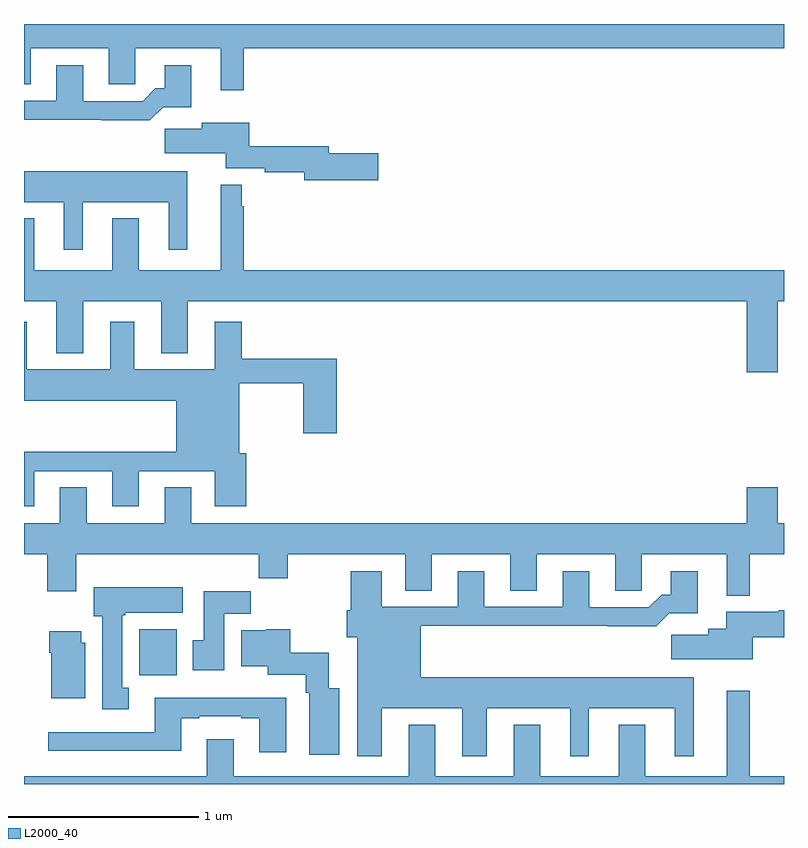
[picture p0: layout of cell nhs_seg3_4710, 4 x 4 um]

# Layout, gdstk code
import gdstk
lib = gdstk.Library(unit=1e-6, precision=1e-09)
def R(c, l, rs):  # rectangles x0, y0, x1, y1
    for r in rs: c.add(gdstk.rectangle(r[:2], r[2:], *l))
def P(c, l, *ps):  # polygons
    for p in ps: c.add(gdstk.Polygon(p, *l))
L2000_40 = (2000, 40)

nhs_seg3_4710 = lib.new_cell('nhs_seg3_4710')
R(nhs_seg3_4710, L2000_40, [(365.606,674.972,365.803,675.214)])
P(nhs_seg3_4710, L2000_40, [(366.157,678.272),(369,678.272),(369,678.4),(365,678.4),(365,678.082),(365.035,678.082),(365.035,678.272),(365.447,678.272),(365.447,678.082),(365.586,678.082),(365.586,678.272),(366.035,678.272),(366.035,678.051),(366.157,678.051)],
  [(365.732,677.963),(365.881,677.963),(365.881,678.184),(365.741,678.184),(365.741,678.061),(365.692,678.061),(365.625,677.994),(365.311,677.994),(365.311,678.184),(365.171,678.184),(365.171,677.997),(365,677.997),(365,677.896),(365.407,677.896),(365.407,677.894),(365.663,677.894)],
  [(366.865,677.72),(366.604,677.72),(366.604,677.756),(366.185,677.756),(366.185,677.881),(365.936,677.881),(365.936,677.849),(365.742,677.849),(365.742,677.72),(366.062,677.72),(366.062,677.64),(366.268,677.64),(366.268,677.62),(366.476,677.62),(366.476,677.578),(366.865,677.578)],
  [(365.308,677.462),(365.762,677.462),(365.762,677.211),(365.86,677.211),(365.86,677.626),(365,677.626),(365,677.462),(365.21,677.462),(365.21,677.211),(365.308,677.211)],
  [(368.968,676.94),(369,676.94),(369,677.104),(366.157,677.104),(366.157,677.441),(366.146,677.441),(366.146,677.554),(366.035,677.554),(366.035,677.104),(365.605,677.104),(365.605,677.377),(365.465,677.377),(365.465,677.104),(365.053,677.104),(365.053,677.377),(365,677.377),(365,676.94),(365.171,676.94),(365.171,676.667),(365.311,676.667),(365.311,676.94),(365.723,676.94),(365.723,676.667),(365.863,676.667),(365.863,676.94),(368.804,676.94),(368.804,676.566),(368.968,676.566)],
  [(365.053,676.047),(365.465,676.047),(365.465,675.861),(365.605,675.861),(365.605,676.047),(366.005,676.047),(366.005,675.861),(366.17,675.861),(366.17,676.14),(366.133,676.14),(366.133,676.51),(366.469,676.51),(366.469,676.245),(366.647,676.245),(366.647,676.639),(366.146,676.639),(366.146,676.834),(366.005,676.834),(366.005,676.582),(365.581,676.582),(365.581,676.834),(365.453,676.834),(365.453,676.582),(365.014,676.582),(365.014,676.834),(365,676.834),(365,676.418),(365.801,676.418),(365.801,676.148),(365,676.148),(365,675.861),(365.053,675.861)],
  [(368.821,675.608),(369,675.608),(369,675.772),(368.968,675.772),(368.968,675.961),(368.804,675.961),(368.804,675.772),(365.881,675.772),(365.881,675.962),(365.741,675.962),(365.741,675.772),(365.329,675.772),(365.329,675.962),(365.189,675.962),(365.189,675.772),(365,675.772),(365,675.608),(365.123,675.608),(365.123,675.414),(365.275,675.414),(365.275,675.608),(366.235,675.608),(366.235,675.484),(366.387,675.484),(366.387,675.608),(367.007,675.608),(367.007,675.418),(367.147,675.418),(367.147,675.608),(367.559,675.608),(367.559,675.418),(367.699,675.418),(367.699,675.608),(368.111,675.608),(368.111,675.418),(368.25,675.418),(368.25,675.608),(368.699,675.608),(368.699,675.392),(368.821,675.392)],
  [(366.883,674.798),(367.307,674.798),(367.307,674.547),(367.435,674.547),(367.435,674.798),(367.874,674.798),(367.874,674.547),(367.972,674.547),(367.972,674.798),(368.426,674.798),(368.426,674.547),(368.524,674.547),(368.524,674.962),(367.087,674.962),(367.087,675.232),(368.071,675.232),(368.071,675.23),(368.327,675.23),(368.396,675.299),(368.545,675.299),(368.545,675.52),(368.405,675.52),(368.405,675.397),(368.356,675.397),(368.289,675.33),(367.975,675.33),(367.975,675.52),(367.835,675.52),(367.835,675.333),(367.423,675.333),(367.423,675.52),(367.283,675.52),(367.283,675.333),(366.883,675.333),(366.883,675.52),(366.719,675.52),(366.719,675.315),(366.698,675.315),(366.698,675.173),(366.755,675.173),(366.755,674.547),(366.883,674.547)],
  [(365.551,674.906),(365.518,674.906),(365.518,675.289),(365.532,675.289),(365.532,675.302),(365.836,675.302),(365.836,675.436),(365.366,675.436),(365.366,675.282),(365.411,675.282),(365.411,674.793),(365.551,674.793)],
  [(366.055,675.296),(366.194,675.296),(366.194,675.415),(365.945,675.415),(365.945,675.156),(365.888,675.156),(365.888,675),(366.055,675)],
  [(368.836,675.173),(369,675.173),(369,675.315),(368.972,675.315),(368.972,675.307),(368.696,675.307),(368.696,675.217),(368.6,675.217),(368.6,675.185),(368.406,675.185),(368.406,675.056),(368.836,675.056)],
  [(366.658,674.905),(366.604,674.905),(366.604,675.092),(366.402,675.092),(366.402,675.214),(366.276,675.214),(366.276,675.208),(366.143,675.208),(366.143,675.02),(366.284,675.02),(366.284,674.976),(366.483,674.976),(366.483,674.879),(366.5,674.879),(366.5,674.553),(366.658,674.553)],
  [(365.323,675.144),(365.302,675.144),(365.302,675.205),(365.132,675.205),(365.132,675.092),(365.144,675.092),(365.144,674.852),(365.323,674.852)],
  [(369,674.44),(368.821,674.44),(368.821,674.89),(368.699,674.89),(368.699,674.44),(368.269,674.44),(368.269,674.713),(368.129,674.713),(368.129,674.44),(367.717,674.44),(367.717,674.713),(367.577,674.713),(367.577,674.44),(367.165,674.44),(367.165,674.713),(367.025,674.713),(367.025,674.44),(366.103,674.44),(366.103,674.635),(365.963,674.635),(365.963,674.44),(365,674.44),(365,674.4),(369,674.4)],
  [(366.379,674.854),(365.687,674.854),(365.687,674.673),(365.127,674.673),(365.127,674.576),(365.827,674.576),(365.827,674.745),(365.923,674.745),(365.923,674.757),(366.143,674.757),(366.143,674.745),(366.239,674.745),(366.239,674.568),(366.379,674.568)])

lib.write_gds('nhs_seg3_4710.gds')
